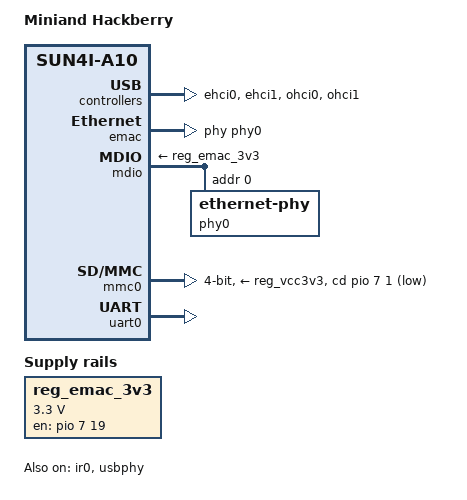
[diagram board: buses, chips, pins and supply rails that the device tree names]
FASTVC-BENCH-CORPUS:linux-main-100k-v1-e0bd41dc-8e12-4f1b-978d-a3645ae59da0
/*
 * Copyright 2012 Maxime Ripard
 *
 * Maxime Ripard <maxime.ripard@free-electrons.com>
 *
 * This file is dual-licensed: you can use it either under the terms
 * of the GPL or the X11 license, at your option. Note that this dual
 * licensing only applies to this file, and not this project as a
 * whole.
 *
 *  a) This file is free software; you can redistribute it and/or
 *     modify it under the terms of the GNU General Public License as
 *     published by the Free Software Foundation; either version 2 of the
 *     License, or (at your option) any later version.
 *
 *     This file is distributed in the hope that it will be useful,
 *     but WITHOUT ANY WARRANTY; without even the implied warranty of
/* bench 13654.1.0 c7dac79aa6e6 */
/* bench 13654.1.1 46c3443b307e */
/* bench 13654.1.2 bdcc21fd55e4 */
/* bench 13654.1.3 f90f4ff8d6d3 */
/* bench 13654.1.4 d7fabbd8f9c0 */
/* bench 13654.1.5 d4e642e9782f */
/* bench 13654.1.6 f70be73b5ff6 */
/* bench 13654.1.7 8f9721c3cf9a */
/* bench 13654.1.8 322a2f387517 */
/* bench 13654.1.9 2bc8fe8de5c3 */
/* bench 8535.0.1 e0f0f9eec21b */
/* bench 8535.0.2 aac16aef6070 */
/* bench 8535.0.3 412a4d1d3031 */
/* bench 8535.0.4 1edff7b5492e */
/* bench 8535.0.5 707ebb8d117d */
/* bench 8535.0.6 440c3c17230e */
/* bench 8535.0.7 89e6ff1f159f */
/* bench 8535.0.8 f02bc9e0fd25 */
/* bench 8535.0.9 20a495708231 */
 *
 *  b) Permission is hereby granted, free of charge, to any person
 *     obtaining a copy of this software and associated documentation
 *     files (the "Software"), to deal in the Software without
 *     restriction, including without limitation the rights to use,
 *     copy, modify, merge, publish, distribute, sublicense, and/or
 *     sell copies of the Software, and to permit persons to whom the
 *     Software is furnished to do so, subject to the following
 *     conditions:
 *
 *     The above copyright notice and this permission notice shall be
 *     included in all copies or substantial portions of the Software.
 *
 *     THE SOFTWARE IS PROVIDED "AS IS", WITHOUT WARRANTY OF ANY KIND,
 *     EXPRESS OR IMPLIED, INCLUDING BUT NOT LIMITED TO THE WARRANTIES
 *     OF MERCHANTABILITY, FITNESS FOR A PARTICULAR PURPOSE AND
 *     NONINFRINGEMENT. IN NO EVENT SHALL THE AUTHORS OR COPYRIGHT
 *     HOLDERS BE LIABLE FOR ANY CLAIM, DAMAGES OR OTHER LIABILITY,
 *     WHETHER IN AN ACTION OF CONTRACT, TORT OR OTHERWISE, ARISING
 *     FROM, OUT OF OR IN CONNECTION WITH THE SOFTWARE OR THE USE OR
 *     OTHER DEALINGS IN THE SOFTWARE.
 */

/dts-v1/;
#include "sun4i-a10.dtsi"
#include "sunxi-common-regulators.dtsi"

#include <dt-bindings/gpio/gpio.h>

/ {
	model = "Miniand Hackberry";
	compatible = "miniand,hackberry", "allwinner,sun4i-a10";

	aliases {
		serial0 = &uart0;
	};

	chosen {
		stdout-path = "serial0:115200n8";
	};

	reg_emac_3v3: emac-3v3 {
		compatible = "regulator-fixed";
		regulator-name = "emac-3v3";
		regulator-min-microvolt = <3300000>;
		regulator-max-microvolt = <3300000>;
		startup-delay-us = <20000>;
		enable-active-high;
		gpio = <&pio 7 19 GPIO_ACTIVE_HIGH>;
	};
};

&ehci0 {
	status = "okay";
};

&ehci1 {
	status = "okay";
};

&emac {
	phy-handle = <&phy0>;
	status = "okay";
};

&emac_sram {
	status = "okay";
};

&ir0 {
	pinctrl-names = "default";
	pinctrl-0 = <&ir0_rx_pins>;
	status = "okay";
};

&mdio {
	phy-supply = <&reg_emac_3v3>;
	status = "okay";

	phy0: ethernet-phy@0 {
		reg = <0>;
	};
};

&mmc0 {
	vmmc-supply = <&reg_vcc3v3>;
	bus-width = <4>;
	cd-gpios = <&pio 7 1 GPIO_ACTIVE_LOW>; /* PH1 */
	status = "okay";
};

&ohci0 {
	status = "okay";
};

&ohci1 {
	status = "okay";
};

&reg_usb1_vbus {
	status = "okay";
};

&reg_usb2_vbus {
	gpio = <&pio 7 12 GPIO_ACTIVE_HIGH>;
	status = "okay";
};

&usbphy {
	usb1_vbus-supply = <&reg_usb1_vbus>;
	usb2_vbus-supply = <&reg_usb2_vbus>;
	status = "okay";
};

&uart0 {
	pinctrl-names = "default";
	pinctrl-0 = <&uart0_pb_pins>;
	status = "okay";
};
